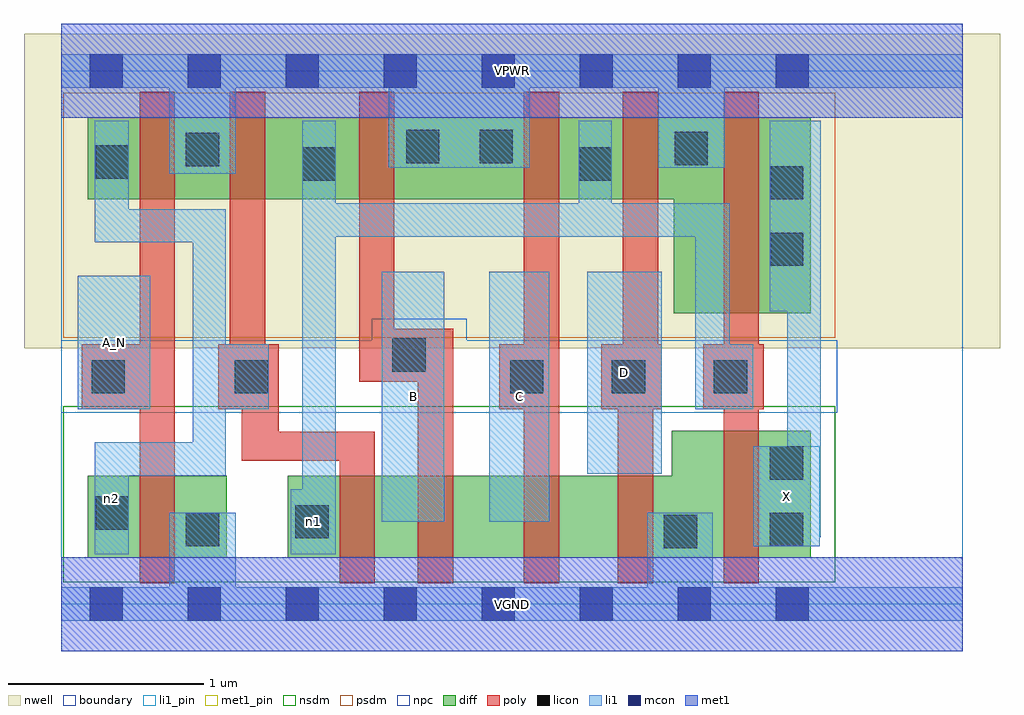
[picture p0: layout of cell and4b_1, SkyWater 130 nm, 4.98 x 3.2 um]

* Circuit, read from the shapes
.subckt and4b_1 A_N B C D VGND VPWR X n1 n2
XM1 VGND A_N n2 VSUBS sky130_fd_pr__nfet_01v8 w=0.42 l=0.18
XM2 n3 n2 n1 VSUBS sky130_fd_pr__nfet_01v8 w=0.42 l=0.18
XM3 n4 B n3 VSUBS sky130_fd_pr__nfet_01v8 w=0.42 l=0.18
XM4 n5 C n4 VSUBS sky130_fd_pr__nfet_01v8 w=0.42 l=0.18
XM5 VGND D n5 VSUBS sky130_fd_pr__nfet_01v8 w=0.42 l=0.18
XM6 X n1 VGND VSUBS sky130_fd_pr__nfet_01v8 w=0.65 l=0.18
XM7 VPWR A_N n2 n6 sky130_fd_pr__pfet_01v8 w=0.42 l=0.18
XM8 n1 n2 VPWR n6 sky130_fd_pr__pfet_01v8 w=0.42 l=0.18
XM9 VPWR B n1 n6 sky130_fd_pr__pfet_01v8 w=0.42 l=0.18
XM10 n1 C VPWR n6 sky130_fd_pr__pfet_01v8 w=0.42 l=0.18
XM11 VPWR D n1 n6 sky130_fd_pr__pfet_01v8 w=0.42 l=0.18
XM12 X n1 VPWR n6 sky130_fd_pr__pfet_01v8 w=1 l=0.18
.ends

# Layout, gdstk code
import gdstk
lib = gdstk.Library(unit=1e-6, precision=1e-09)
def R(c, l, rs):  # rectangles x0, y0, x1, y1
    for r in rs: c.add(gdstk.rectangle(r[:2], r[2:], *l))
def A(c, l, x, y, w, h, nx, ny, dx, dy):  # array of equal rectangles
    R(c, l, [(x+i*dx, y+j*dy, x+i*dx+w, y+j*dy+h) for i in range(nx) for j in range(ny)])
nwell = (64, 20)
diff = (65, 20)
poly = (66, 20)
licon = (66, 44)
li1_pin = (67, 16)
li1 = (67, 20)
mcon = (67, 44)
met1_pin = (68, 16)
met1 = (68, 20)
nsdm = (93, 44)
psdm = (94, 20)
npc = (95, 20)
boundary = (235, 4)

and4b_1 = lib.new_cell('and4b_1')
R(and4b_1, nwell, [(-0.19,1.305,4.79,2.91), (0,1.305,4.6,2.91)])
R(and4b_1, diff, [(0.135,0.235,0.845,0.655), (1.155,0.235,3.825,0.655), (3.115,0.235,3.825,0.885), (3.125,1.485,3.825,2.485), (0.135,2.065,3.825,2.485)])
R(and4b_1, poly, [(0.4,0.105,0.58,2.615), (1.42,0.105,1.6,0.88), (1.82,0.105,2,1.405), (2.36,0.105,2.54,2.615), (2.84,0.105,3.02,1.325), (3.38,0.105,3.56,2.615), (0.92,0.73,1.6,0.88), (0.92,0.73,1.11,1.325), (0.105,0.995,0.58,1.325), (0.8,0.995,1.11,1.325), (0.86,0.995,1.04,2.615), (2.235,0.995,2.54,1.325), (2.755,0.995,3.065,1.325), (2.865,0.995,3.045,2.615), (3.275,0.995,3.585,1.325), (1.52,1.135,1.7,2.615), (1.52,1.135,2,1.405)])
A(and4b_1, licon, 2.29, 1.075, 0.17, 0.17, 3, 1, 0.52, 0)
R(and4b_1, licon, [(3.075,0.285,3.245,0.455), (0.635,0.295,0.805,0.465), (3.615,0.295,3.785,0.465), (1.195,0.335,1.365,0.505), (0.175,0.38,0.345,0.55), (3.615,0.635,3.785,0.805), (0.155,1.075,0.325,1.245), (0.885,1.075,1.055,1.245), (1.69,1.185,1.86,1.355), (3.615,1.725,3.785,1.895), (3.615,2.065,3.785,2.235), (1.23,2.16,1.4,2.33), (2.64,2.16,2.81,2.33), (0.175,2.17,0.345,2.34), (0.635,2.235,0.805,2.405), (3.13,2.24,3.3,2.41), (1.76,2.25,1.93,2.42), (2.135,2.25,2.305,2.42)])
R(and4b_1, li1_pin, [(3.53,0.295,3.87,0.805), (1.635,0.42,1.955,1.695), (2.185,0.42,2.49,1.695), (2.685,0.665,3.065,1.695), (0.085,0.995,0.455,1.675)])
R(and4b_1, li1, [(0,-0.085,4.6,0.085), (0.55,-0.085,0.89,0.465), (2.99,-0.085,3.325,0.465), (0.17,0.255,0.345,0.825), (1.17,0.255,1.4,0.585), (1.23,0.255,1.4,2.465), (3.53,0.295,3.87,0.805), (3.705,0.34,3.875,2.465), (1.635,0.42,1.955,1.695), (2.185,0.42,2.49,1.695), (0.17,0.655,0.84,0.825), (0.67,0.655,0.84,2.015), (2.685,0.665,3.065,1.695), (0.085,0.995,0.455,1.675), (0.67,0.995,1.06,1.325), (3.235,0.995,3.41,2.045), (3.235,0.995,3.53,1.325), (3.615,1.495,3.875,2.465), (0.17,1.845,0.84,2.015), (0.17,1.845,0.345,2.465), (1.23,1.875,3.41,2.045), (2.64,1.875,2.81,2.465), (0.55,2.195,0.89,2.805), (1.67,2.225,2.39,2.805), (3.045,2.225,3.385,2.805), (0,2.635,4.6,2.805)])
A(and4b_1, mcon, 0.145, -0.085, 0.17, 0.17, 8, 2, 0.5, 2.72)
R(and4b_1, met1_pin, [(0,-0.24,4.6,0.24), (0,2.48,4.6,2.96)])
R(and4b_1, met1, [(0,-0.24,4.6,0.24), (0,2.48,4.6,2.96)])
R(and4b_1, nsdm, [(0.01,0.11,3.95,1.01)])
R(and4b_1, psdm, [(0.01,1.36,3.95,2.61)])
R(and4b_1, npc, [(0,0.975,3.96,1.345), (1.585,0.975,2.07,1.455)])
R(and4b_1, boundary, [(0,0,4.6,2.72)])
and4b_1.add(gdstk.Label('A_N', (0.27,1.335), layer=67, texttype=5))
and4b_1.add(gdstk.Label('B', (1.795,1.057), layer=67, texttype=5))
and4b_1.add(gdstk.Label('C', (2.337,1.057), layer=67, texttype=5))
and4b_1.add(gdstk.Label('D', (2.875,1.18), layer=67, texttype=5))
and4b_1.add(gdstk.Label('X', (3.7,0.55), layer=67, texttype=5))
and4b_1.add(gdstk.Label('n2', (0.257,0.54), layer=67, texttype=5))
and4b_1.add(gdstk.Label('n1', (1.285,0.42), layer=67, texttype=5))
and4b_1.add(gdstk.Label('VPWR', (2.3,2.72), layer=68, texttype=5))
and4b_1.add(gdstk.Label('VGND', (2.3,0), layer=68, texttype=5))
and4b_1.add(gdstk.Label('A_N', (0.27,1.335), layer=67, texttype=16))
and4b_1.add(gdstk.Label('B', (1.795,1.057), layer=67, texttype=16))
and4b_1.add(gdstk.Label('C', (2.337,1.057), layer=67, texttype=16))
and4b_1.add(gdstk.Label('D', (2.875,1.18), layer=67, texttype=16))
and4b_1.add(gdstk.Label('X', (3.7,0.55), layer=67, texttype=16))
and4b_1.add(gdstk.Label('VPWR', (2.3,2.72), layer=68, texttype=16))
and4b_1.add(gdstk.Label('VGND', (2.3,0), layer=68, texttype=16))

lib.write_gds('and4b_1.gds')
